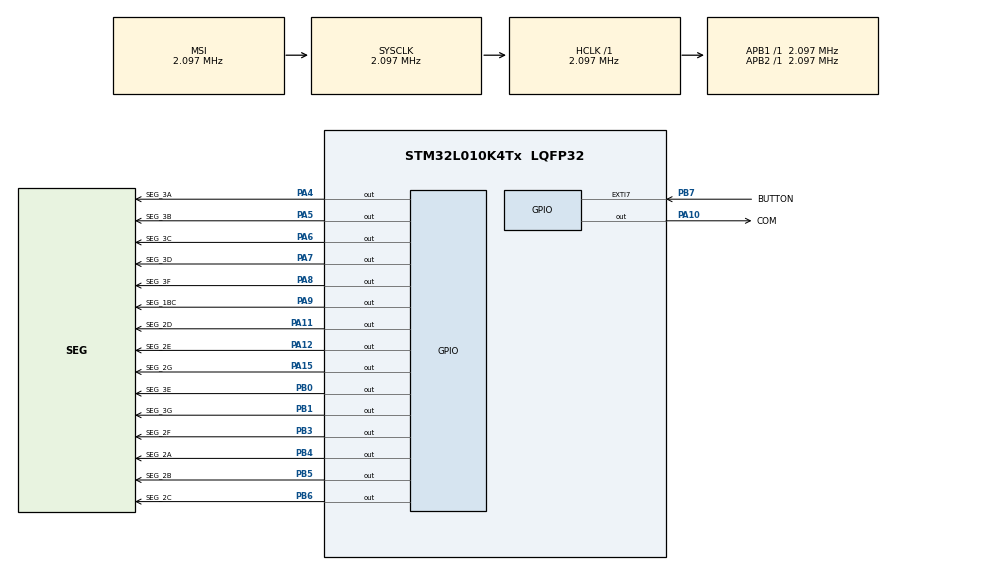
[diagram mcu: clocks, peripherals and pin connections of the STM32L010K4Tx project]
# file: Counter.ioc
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Mcu.Family=STM32L0
Mcu.Name=STM32L010K4Tx
Mcu.Package=LQFP32
NVIC.EXTI4_15_IRQn=true\:0\:0\:false\:false\:true\:true\:true\:true
NVIC.RTC_IRQn=true\:0\:0\:false\:false\:true\:true\:true\:true
PA10.GPIO_Label=COM
PA10.Signal=GPIO_Output
PA11.GPIO_Label=SEG_2D
PA11.Signal=GPIO_Output
PA12.GPIO_Label=SEG_2E
PA12.Signal=GPIO_Output
PA13.Mode=Serial_Wire
PA13.Signal=SYS_SWDIO
PA14.Mode=Serial_Wire
PA14.Signal=SYS_SWCLK
PA15.GPIO_Label=SEG_2G
PA15.Signal=GPIO_Output
PA4.GPIO_Label=SEG_3A
PA4.Signal=GPIO_Output
PA5.GPIO_Label=SEG_3B
PA5.Signal=GPIO_Output
PA6.GPIO_Label=SEG_3C
PA6.Signal=GPIO_Output
PA7.GPIO_Label=SEG_3D
PA7.Signal=GPIO_Output
PA8.GPIO_Label=SEG_3F
PA8.Signal=GPIO_Output
PA9.GPIO_Label=SEG_1BC
PA9.Signal=GPIO_Output
PB0.GPIO_Label=SEG_3E
PB0.Signal=GPIO_Output
PB1.GPIO_Label=SEG_3G
PB1.Signal=GPIO_Output
PB3.GPIO_Label=SEG_2F
PB3.Signal=GPIO_Output
PB4.GPIO_Label=SEG_2A
PB4.Signal=GPIO_Output
PB5.GPIO_Label=SEG_2B
PB5.Signal=GPIO_Output
PB6.GPIO_Label=SEG_2C
PB6.Signal=GPIO_Output
PB7.GPIO_Label=BUTTON
PB7.GPIO_ModeDefaultEXTI=GPIO_MODE_IT_RISING
PB7.GPIO_PuPd=GPIO_PULLUP
PB7.Signal=GPXTI7
PC14-OSC32_IN.Mode=LSE-External-Clock-Source
PC14-OSC32_IN.Signal=RCC_OSC32_IN
ProjectManager.HeapSize=0x200
ProjectManager.StackSize=0x400
ProjectManager.TargetToolchain=STM32CubeIDE
RCC.AHBFreq_Value=2097000
RCC.APB1Freq_Value=2097000
RCC.APB1TimFreq_Value=2097000
RCC.APB2Freq_Value=2097000
RCC.APB2TimFreq_Value=2097000
RCC.HCLKFreq_Value=2097000
RCC.HSE_VALUE=8000000
RCC.HSI16_VALUE=16000000
RCC.HSI_VALUE=16000000
RCC.LSE_VALUE=32768
RCC.MSI_VALUE=2097000
RCC.PREFETCH_ENABLE=0
RCC.RTCClockSelection=RCC_RTCCLKSOURCE_LSE
RCC.RTCClockSelectionVirtual=RCC_RTCCLKSOURCE_LSE
RCC.SYSCLKFreq_VALUE=2097000
RCC.VCOOutputFreq_Value=48000000
RTC.WakeUpCounter-WakeUp=64
VP_RTC_VS_RTC_Activate.Mode=RTC_Enabled
VP_RTC_VS_RTC_WakeUp_intern.Mode=WakeUp
board=custom

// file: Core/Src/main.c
/* USER CODE BEGIN Header */
/**
  ******************************************************************************
  * @file           : main.c
  * @brief          : Main program body
  ******************************************************************************
  * @attention
  *
  * Copyright (c) 2024 STMicroelectronics.
  * All rights reserved.
  *
  * This software is licensed under terms that can be found in the LICENSE file
  * in the root directory of this software component.
  * If no LICENSE file comes with this software, it is provided AS-IS.
  *
  ******************************************************************************
  */
/* USER CODE END Header */
#include "main.h"

/* USER CODE BEGIN Includes */
#include <stdatomic.h>
#include <stdint.h>

#include "display.h"
/* USER CODE END Includes */

RTC_HandleTypeDef hrtc;

/* USER CODE BEGIN PV */
const static unsigned TICKS_PER_SECOND = 32;
const static unsigned TICKS_PER_PERIOD = TICKS_PER_SECOND * 60 * 60 * 24; // Days.
//const static unsigned TICKS_PER_PERIOD = TICKS_PER_SECOND / 2; // Half-seconds, for testing.
const static unsigned MAXIMUM_COUNT = 199;

// Cleared when there is a button press to acknowledge. Set when it's been acknowledged.
volatile static atomic_flag button_flag = ATOMIC_FLAG_INIT;
/* USER CODE END PV */

void SystemClock_Config(void);
static void MX_GPIO_Init(void);
static void MX_RTC_Init(void);

/* USER CODE BEGIN 0 */

static struct digit_segs get_fidget_frame(const uint64_t frame_number)
{
	struct digit_segs result = {};

	bool* const sequence[] = {
		//&result.a, &result.b, &result.c, &result.d, &result.e, &result.f,
		&result.a, &result.b, &result.g, &result.e, &result.d, &result.c, &result.g, &result.f
	};
	const unsigned sequence_length = sizeof(sequence) / sizeof(sequence[0]);

	const unsigned num_active_segments = frame_number % 2 ? 3 : 2;
	const unsigned start_index = frame_number / 2 % sequence_length;
	for (unsigned active_segment_number = 0; active_segment_number < num_active_segments; active_segment_number++)
	{
		const unsigned index = (start_index + active_segment_number) % sequence_length;
		*(sequence[index]) = true;
	}

	return result;
}

static struct digit_segs mirror(const struct digit_segs original)
{
	struct digit_segs result = original;
	result.b = original.f;
	result.c = original.e;
	result.e = original.c;
	result.f = original.b;
	return result;
}

void HAL_GPIO_EXTI_Callback(uint16_t GPIO_Pin)
{
	atomic_flag_clear(&button_flag);
}

/* USER CODE END 0 */

int main(void)
{

  /* USER CODE BEGIN 1 */
  atomic_flag_test_and_set(&button_flag);
  /* USER CODE END 1 */

  /* MCU Configuration--------------------------------------------------------*/

  /* Reset of all peripherals, Initializes the Flash interface and the Systick. */
  HAL_Init();

  /* Configure the system clock */
  SystemClock_Config();

  /* Initialize all configured peripherals */
  MX_GPIO_Init();
  MX_RTC_Init();
  /* USER CODE BEGIN 2 */
  _Bool phase = 0;
  unsigned current_count = 0;
  bool button_previously_pressed = false;

  // As a uint64_t, we could have 1 tick per nanosecond and this could still count hundreds of years.
  uint64_t ticks_since_last_clear = 0;
  /* USER CODE END 2 */

  /* Infinite loop */
  /* USER CODE BEGIN WHILE */
  while (1)
  {
	  const bool button_pressed_now = !HAL_GPIO_ReadPin(BUTTON_GPIO_Port, BUTTON_Pin);
	  const bool button_changed_since_last_loop = button_pressed_now != button_previously_pressed;
	  button_previously_pressed = button_pressed_now;

	  if (button_changed_since_last_loop)
	  {
		  current_count++;
	  }

	  struct display_segs s = {};
	  s.ones = get_fidget_frame(current_count);
	  s.tens = mirror(get_fidget_frame(current_count));
	  write_display_pins(s, phase);

	  ticks_since_last_clear++;
	  phase = !phase;

	  __HAL_PWR_CLEAR_FLAG(PWR_FLAG_WU);
	  HAL_PWR_EnterSTOPMode(PWR_LOWPOWERREGULATOR_ON, PWR_STOPENTRY_WFI);

    /* USER CODE END WHILE */

  }
}

void SystemClock_Config(void)
{
  RCC_OscInitTypeDef RCC_OscInitStruct = {0};
  RCC_ClkInitTypeDef RCC_ClkInitStruct = {0};
  RCC_PeriphCLKInitTypeDef PeriphClkInit = {0};

  /** Configure the main internal regulator output voltage
  */
  __HAL_PWR_VOLTAGESCALING_CONFIG(PWR_REGULATOR_VOLTAGE_SCALE1);

  /** Initializes the RCC Oscillators according to the specified parameters
  * in the RCC_OscInitTypeDef structure.
  */
  RCC_OscInitStruct.OscillatorType = RCC_OSCILLATORTYPE_LSE|RCC_OSCILLATORTYPE_MSI;
  RCC_OscInitStruct.LSEState = RCC_LSE_BYPASS;
  RCC_OscInitStruct.MSIState = RCC_MSI_ON;
  RCC_OscInitStruct.MSICalibrationValue = 0;
  RCC_OscInitStruct.MSIClockRange = RCC_MSIRANGE_5;
  RCC_OscInitStruct.PLL.PLLState = RCC_PLL_NONE;
  if (HAL_RCC_OscConfig(&RCC_OscInitStruct) != HAL_OK)
  {
    Error_Handler();
  }

  /** Initializes the CPU, AHB and APB buses clocks
  */
  RCC_ClkInitStruct.ClockType = RCC_CLOCKTYPE_HCLK|RCC_CLOCKTYPE_SYSCLK
                              |RCC_CLOCKTYPE_PCLK1|RCC_CLOCKTYPE_PCLK2;
  RCC_ClkInitStruct.SYSCLKSource = RCC_SYSCLKSOURCE_MSI;
  RCC_ClkInitStruct.AHBCLKDivider = RCC_SYSCLK_DIV1;
  RCC_ClkInitStruct.APB1CLKDivider = RCC_HCLK_DIV1;
  RCC_ClkInitStruct.APB2CLKDivider = RCC_HCLK_DIV1;

  if (HAL_RCC_ClockConfig(&RCC_ClkInitStruct, FLASH_LATENCY_0) != HAL_OK)
  {
    Error_Handler();
  }
  PeriphClkInit.PeriphClockSelection = RCC_PERIPHCLK_RTC;
  PeriphClkInit.RTCClockSelection = RCC_RTCCLKSOURCE_LSE;
  if (HAL_RCCEx_PeriphCLKConfig(&PeriphClkInit) != HAL_OK)
  {
    Error_Handler();
  }
}

static void MX_RTC_Init(void)
{

  /** Initialize RTC Only
  */
  hrtc.Instance = RTC;
  hrtc.Init.HourFormat = RTC_HOURFORMAT_24;
  hrtc.Init.AsynchPrediv = 127;
  hrtc.Init.SynchPrediv = 255;
  hrtc.Init.OutPut = RTC_OUTPUT_DISABLE;
  hrtc.Init.OutPutRemap = RTC_OUTPUT_REMAP_NONE;
  hrtc.Init.OutPutPolarity = RTC_OUTPUT_POLARITY_HIGH;
  hrtc.Init.OutPutType = RTC_OUTPUT_TYPE_OPENDRAIN;
  if (HAL_RTC_Init(&hrtc) != HAL_OK)
  {
    Error_Handler();
  }

  /** Enable the WakeUp
  */
  if (HAL_RTCEx_SetWakeUpTimer_IT(&hrtc, 64, RTC_WAKEUPCLOCK_RTCCLK_DIV16) != HAL_OK)
  {
    Error_Handler();
  }

}

static void MX_GPIO_Init(void)
{
  GPIO_InitTypeDef GPIO_InitStruct = {0};

  /* GPIO Ports Clock Enable */
  __HAL_RCC_GPIOC_CLK_ENABLE();
  __HAL_RCC_GPIOA_CLK_ENABLE();
  __HAL_RCC_GPIOB_CLK_ENABLE();

  /*Configure GPIO pin Output Level */
  HAL_GPIO_WritePin(GPIOA, SEG_3A_Pin|SEG_3B_Pin|SEG_3C_Pin|SEG_3D_Pin
                          |SEG_3F_Pin|SEG_1BC_Pin|COM_Pin|SEG_2D_Pin
                          |SEG_2E_Pin|SEG_2G_Pin, GPIO_PIN_RESET);

  /*Configure GPIO pin Output Level */
  HAL_GPIO_WritePin(GPIOB, SEG_3E_Pin|SEG_3G_Pin|SEG_2F_Pin|SEG_2A_Pin
                          |SEG_2B_Pin|SEG_2C_Pin, GPIO_PIN_RESET);

  /*Configure GPIO pins : SEG_3A_Pin SEG_3B_Pin SEG_3C_Pin SEG_3D_Pin
                           SEG_3F_Pin SEG_1BC_Pin COM_Pin SEG_2D_Pin
                           SEG_2E_Pin SEG_2G_Pin */
  GPIO_InitStruct.Pin = SEG_3A_Pin|SEG_3B_Pin|SEG_3C_Pin|SEG_3D_Pin
                          |SEG_3F_Pin|SEG_1BC_Pin|COM_Pin|SEG_2D_Pin
                          |SEG_2E_Pin|SEG_2G_Pin;
  GPIO_InitStruct.Mode = GPIO_MODE_OUTPUT_PP;
  GPIO_InitStruct.Pull = GPIO_NOPULL;
  GPIO_InitStruct.Speed = GPIO_SPEED_FREQ_LOW;
  HAL_GPIO_Init(GPIOA, &GPIO_InitStruct);

  /*Configure GPIO pins : SEG_3E_Pin SEG_3G_Pin SEG_2F_Pin SEG_2A_Pin
                           SEG_2B_Pin SEG_2C_Pin */
  GPIO_InitStruct.Pin = SEG_3E_Pin|SEG_3G_Pin|SEG_2F_Pin|SEG_2A_Pin
                          |SEG_2B_Pin|SEG_2C_Pin;
  GPIO_InitStruct.Mode = GPIO_MODE_OUTPUT_PP;
  GPIO_InitStruct.Pull = GPIO_NOPULL;
  GPIO_InitStruct.Speed = GPIO_SPEED_FREQ_LOW;
  HAL_GPIO_Init(GPIOB, &GPIO_InitStruct);

  /*Configure GPIO pin : BUTTON_Pin */
  GPIO_InitStruct.Pin = BUTTON_Pin;
  GPIO_InitStruct.Mode = GPIO_MODE_IT_RISING;
  GPIO_InitStruct.Pull = GPIO_PULLUP;
  HAL_GPIO_Init(BUTTON_GPIO_Port, &GPIO_InitStruct);

  /* EXTI interrupt init*/
  HAL_NVIC_SetPriority(EXTI4_15_IRQn, 0, 0);
  HAL_NVIC_EnableIRQ(EXTI4_15_IRQn);

}

void Error_Handler(void)
{
  __disable_irq();
  while (1)
  {
  }
}
